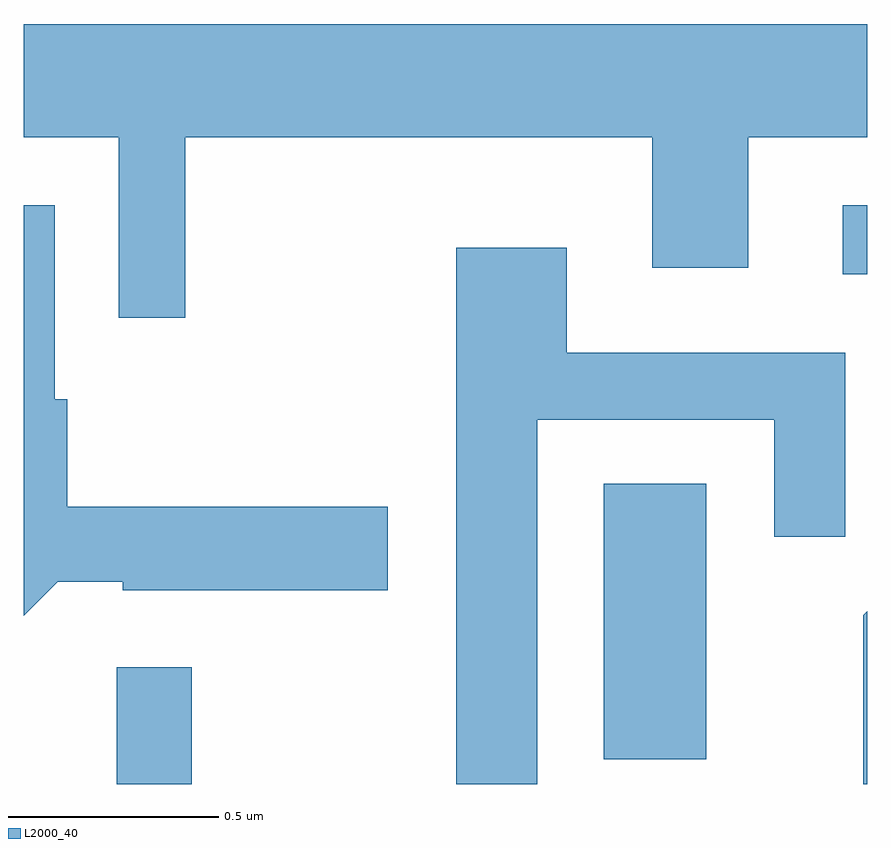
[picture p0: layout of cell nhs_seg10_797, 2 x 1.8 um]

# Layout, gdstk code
import gdstk
lib = gdstk.Library(unit=1e-6, precision=1e-09)
def R(c, l, rs):  # rectangles x0, y0, x1, y1
    for r in rs: c.add(gdstk.rectangle(r[:2], r[2:], *l))
def P(c, l, *ps):  # polygons
    for p in ps: c.add(gdstk.Polygon(p, *l))
L2000_40 = (2000, 40)

nhs_seg10_797 = lib.new_cell('nhs_seg10_797')
R(nhs_seg10_797, L2000_40, [(190.831,2194.522,191.009,2194.799), (191.986,2194.581,192.229,2195.234), (192.553,2195.731,192.611,2195.894)])
P(nhs_seg10_797, L2000_40, [(190.994,2196.056),(192.101,2196.056),(192.101,2195.746),(192.329,2195.746),(192.329,2196.056),(192.611,2196.056),(192.611,2196.324),(190.611,2196.324),(190.611,2196.056),(190.836,2196.056),(190.836,2195.628),(190.994,2195.628)],
  [(190.692,2195.001),(190.846,2195.001),(190.846,2194.981),(191.474,2194.981),(191.474,2195.179),(190.714,2195.179),(190.714,2195.434),(190.684,2195.434),(190.684,2195.894),(190.611,2195.894),(190.611,2194.921)],
  [(191.829,2195.386),(192.391,2195.386),(192.391,2195.108),(192.559,2195.108),(192.559,2195.544),(191.899,2195.544),(191.899,2195.794),(191.636,2195.794),(191.636,2194.522),(191.829,2194.522)],
  [(192.611,2194.932),(192.601,2194.922),(192.601,2194.522),(192.611,2194.522)])

lib.write_gds('nhs_seg10_797.gds')
